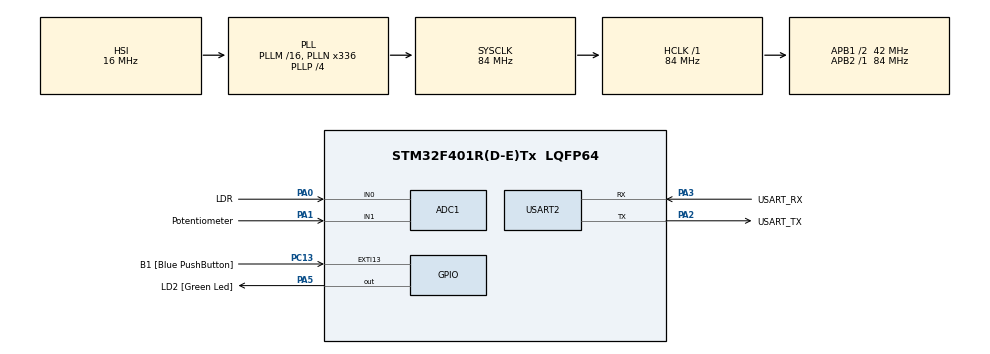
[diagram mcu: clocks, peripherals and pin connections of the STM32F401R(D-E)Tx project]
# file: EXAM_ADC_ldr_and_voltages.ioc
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ADC1.Channel-0\#ChannelRegularConversion=ADC_CHANNEL_0
ADC1.Channel-4\#ChannelRegularConversion=ADC_CHANNEL_1
ADC1.Channel-5\#ChannelRegularConversion=ADC_CHANNEL_TEMPSENSOR
ADC1.Channel-6\#ChannelRegularConversion=ADC_CHANNEL_VREFINT
ADC1.ContinuousConvMode=DISABLE
ADC1.DMAContinuousRequests=ENABLE
ADC1.DataAlign=ADC_DATAALIGN_RIGHT
ADC1.DiscontinuousConvMode=DISABLE
ADC1.ExternalTrigConv=ADC_EXTERNALTRIGCONV_T3_TRGO
ADC1.ExternalTrigConvEdge=ADC_EXTERNALTRIGCONVEDGE_RISING
ADC1.InjNumberOfConversion=0
ADC1.NbrOfConversion=4
ADC1.NbrOfConversionFlag=1
ADC1.Rank-0\#ChannelRegularConversion=1
ADC1.Rank-4\#ChannelRegularConversion=2
ADC1.Rank-5\#ChannelRegularConversion=3
ADC1.Rank-6\#ChannelRegularConversion=4
ADC1.SamplingTime-0\#ChannelRegularConversion=ADC_SAMPLETIME_480CYCLES
ADC1.SamplingTime-4\#ChannelRegularConversion=ADC_SAMPLETIME_480CYCLES
ADC1.SamplingTime-5\#ChannelRegularConversion=ADC_SAMPLETIME_480CYCLES
ADC1.SamplingTime-6\#ChannelRegularConversion=ADC_SAMPLETIME_480CYCLES
ADC1.master=1
Dma.ADC1.0.Direction=DMA_PERIPH_TO_MEMORY
Dma.ADC1.0.FIFOMode=DMA_FIFOMODE_DISABLE
Dma.ADC1.0.Instance=DMA2_Stream0
Dma.ADC1.0.MemDataAlignment=DMA_MDATAALIGN_HALFWORD
Dma.ADC1.0.MemInc=DMA_MINC_ENABLE
Dma.ADC1.0.Mode=DMA_CIRCULAR
Dma.ADC1.0.PeriphDataAlignment=DMA_PDATAALIGN_HALFWORD
Dma.ADC1.0.PeriphInc=DMA_PINC_DISABLE
Dma.ADC1.0.Priority=DMA_PRIORITY_VERY_HIGH
Dma.Request0=ADC1
Dma.Request1=USART2_TX
Dma.USART2_TX.1.Direction=DMA_MEMORY_TO_PERIPH
Dma.USART2_TX.1.FIFOMode=DMA_FIFOMODE_DISABLE
Dma.USART2_TX.1.Instance=DMA1_Stream6
Dma.USART2_TX.1.MemDataAlignment=DMA_MDATAALIGN_BYTE
Dma.USART2_TX.1.MemInc=DMA_MINC_ENABLE
Dma.USART2_TX.1.Mode=DMA_NORMAL
Dma.USART2_TX.1.PeriphDataAlignment=DMA_PDATAALIGN_BYTE
Dma.USART2_TX.1.PeriphInc=DMA_PINC_DISABLE
Dma.USART2_TX.1.Priority=DMA_PRIORITY_LOW
Mcu.Family=STM32F4
Mcu.Name=STM32F401R(D-E)Tx
Mcu.Package=LQFP64
NVIC.ADC_IRQn=true\:0\:0\:true\:false\:true\:true\:true\:true
NVIC.DMA1_Stream6_IRQn=true\:0\:0\:false\:false\:true\:false\:true\:true
NVIC.DMA2_Stream0_IRQn=true\:0\:0\:false\:false\:true\:false\:true\:true
NVIC.PriorityGroup=NVIC_PRIORITYGROUP_0
NVIC.USART2_IRQn=true\:0\:0\:false\:false\:true\:true\:true\:true
PA0-WKUP.GPIO_Label=LDR
PA0-WKUP.Signal=ADCx_IN0
PA1.GPIO_Label=Potentiometer
PA1.Signal=ADCx_IN1
PA13.GPIO_Label=TMS
PA13.Mode=Serial_Wire
PA13.Signal=SYS_JTMS-SWDIO
PA14.GPIO_Label=TCK
PA14.Mode=Serial_Wire
PA14.Signal=SYS_JTCK-SWCLK
PA2.GPIO_Label=USART_TX
PA2.GPIO_Mode=GPIO_MODE_AF_PP
PA2.GPIO_PuPd=GPIO_NOPULL
PA2.GPIO_Speed=GPIO_SPEED_FREQ_LOW
PA2.Mode=Asynchronous
PA2.Signal=USART2_TX
PA3.GPIO_Label=USART_RX
PA3.GPIO_Mode=GPIO_MODE_AF_PP
PA3.GPIO_PuPd=GPIO_NOPULL
PA3.GPIO_Speed=GPIO_SPEED_FREQ_LOW
PA3.Mode=Asynchronous
PA3.Signal=USART2_RX
PA5.GPIO_Label=LD2 [Green Led]
PA5.GPIO_Mode=GPIO_MODE_OUTPUT_PP
PA5.GPIO_PuPd=GPIO_NOPULL
PA5.GPIO_Speed=GPIO_SPEED_FREQ_LOW
PA5.Signal=GPIO_Output
PB3.GPIO_Label=SWO
PB3.Signal=SYS_JTDO-SWO
PC13-ANTI_TAMP.GPIO_Label=B1 [Blue PushButton]
PC13-ANTI_TAMP.GPIO_ModeDefaultEXTI=GPIO_MODE_IT_FALLING
PC13-ANTI_TAMP.GPIO_PuPd=GPIO_NOPULL
PC13-ANTI_TAMP.Signal=GPXTI13
PC14-OSC32_IN.Mode=LSE-External-Oscillator
PC14-OSC32_IN.Signal=RCC_OSC32_IN
PC15-OSC32_OUT.Mode=LSE-External-Oscillator
PC15-OSC32_OUT.Signal=RCC_OSC32_OUT
PH0\ -\ OSC_IN.Mode=HSE-External-Clock-Source
PH0\ -\ OSC_IN.Signal=RCC_OSC_IN
PH1\ -\ OSC_OUT.Mode=HSE-External-Clock-Source
PH1\ -\ OSC_OUT.Signal=RCC_OSC_OUT
ProjectManager.HeapSize=0x200
ProjectManager.StackSize=0x400
ProjectManager.TargetToolchain=STM32CubeIDE
RCC.48MHZClocksFreq_Value=48000000
RCC.AHBFreq_Value=84000000
RCC.APB1CLKDivider=RCC_HCLK_DIV2
RCC.APB1Freq_Value=42000000
RCC.APB1TimFreq_Value=84000000
RCC.APB2Freq_Value=84000000
RCC.APB2TimFreq_Value=84000000
RCC.CortexFreq_Value=84000000
RCC.HCLKFreq_Value=84000000
RCC.HSE_VALUE=8000000
RCC.HSI_VALUE=16000000
RCC.PLLN=336
RCC.PLLP=RCC_PLLP_DIV4
RCC.PLLQ=7
RCC.SYSCLKFreq_VALUE=84000000
RCC.SYSCLKSource=RCC_SYSCLKSOURCE_PLLCLK
RCC.VCOOutputFreq_Value=336000000
SH.ADCx_IN0.0=ADC1_IN0,IN0
SH.ADCx_IN1.0=ADC1_IN1,IN1
TIM3.Period=9
TIM3.Prescaler=8399
TIM3.TIM_MasterOutputTrigger=TIM_TRGO_UPDATE
TIM3.TIM_MasterSlaveMode=TIM_MASTERSLAVEMODE_DISABLE
USART2.VirtualMode=VM_ASYNC
VP_ADC1_TempSens_Input.Mode=IN-TempSens
VP_ADC1_Vref_Input.Mode=IN-Vrefint
VP_TIM3_VS_ClockSourceINT.Mode=Internal
board=NUCLEO-F401RE

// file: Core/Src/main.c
/* USER CODE BEGIN Header */
/**
  ******************************************************************************
  * @file           : main.c
  * @brief          : Main program body
  ******************************************************************************
  * @attention
  *
  * Copyright (c) 2024 STMicroelectronics.
  * All rights reserved.
  *
  * This software is licensed under terms that can be found in the LICENSE file
  * in the root directory of this software component.
  * If no LICENSE file comes with this software, it is provided AS-IS.
  *
  ******************************************************************************
  */
/* USER CODE END Header */
#include "main.h"

/* USER CODE BEGIN Includes */
#include "stdio.h"
#include <string.h>
#include <math.h>
/* USER CODE END Includes */

/* USER CODE BEGIN PD */
#define SIZE_STRING				200
#define ADC_VOLT_VALUES_SIZE 	3
#define VOLTAGE					3.3
#define ADC_VALUES_SIZE			2000
#define RESOLUTION				4096
/* USER CODE END PD */

ADC_HandleTypeDef hadc1;
DMA_HandleTypeDef hdma_adc1;

TIM_HandleTypeDef htim3;

UART_HandleTypeDef huart2;
DMA_HandleTypeDef hdma_usart2_tx;

void SystemClock_Config(void);
static void MX_GPIO_Init(void);
static void MX_DMA_Init(void);
static void MX_USART2_UART_Init(void);
static void MX_ADC1_Init(void);
static void MX_TIM3_Init(void);

/* USER CODE BEGIN 0 */
uint16_t ADC_values[ADC_VALUES_SIZE]; // Variable to store data recover by the ADC
char txBuffer[SIZE_STRING]; // Buffer to store the string to send over USART

/**
 * @brief Calculate the mean for the rank of an ADC channel
 */
uint32_t CalculateRankMean(uint16_t* Array, uint16_t rank)
{
    uint32_t sum = 0;
    for (uint16_t i = rank; i < ADC_VALUES_SIZE/2; i ++)
    {
    	if (i % 4 == rank) {
    		sum += Array[i];
    	}
    }
    return sum / 250;
}

/**
 * @brief Get ADC values and set it to the UART
 */
void SendData(uint16_t* HalfArray)
{
	// Calculate mean of desired half of array
	uint32_t ldr_mean = CalculateRankMean(ADC_values, 0); // Rank 1
	uint32_t pot_mean = CalculateRankMean(ADC_values, 1); // Rank 2
	uint32_t temp_mean = CalculateRankMean(ADC_values, 2); // Rank 3
	uint32_t vref_mean = CalculateRankMean(ADC_values, 3); // Rank 4

	// Calculate ADC LDR, LUX, potentiometer, temperature, and vref values
	float adcV = ldr_mean / 4095.0 * 3.3;
	float LDR = adcV * 100000 / (3.3 - adcV);
	float LUX = pow((10 * (100000 / LDR)), 1.25);
	float potentiometer = (pot_mean * VOLTAGE) / RESOLUTION;
    float temperature = 25 + ((((temp_mean * VOLTAGE) / RESOLUTION) - 0.76 ) / 0.025);
    float vref = (vref_mean * VOLTAGE) / RESOLUTION;

    // String format
	snprintf(txBuffer, sizeof(txBuffer), "LDR: %.2f Ohm\t, LUX: %.2f Lux\t, Pot: %.2fV\t, Temp: %.2fC\t, Vref: %.2fV\r\n", LDR,
																														   LUX,
																														   potentiometer,
																														   temperature,
																														   vref);
	HAL_UART_Transmit_DMA(&huart2, (uint8_t*)txBuffer, strlen(txBuffer));
}

/**
 * @brief Half callback of the ADC function
 */
void HAL_ADC_ConvHalfCpltCallback(ADC_HandleTypeDef* hadc)
{
	// Call send data function, pointer to first value of array
	SendData(ADC_values);
}

/**
 * @brief Complete callback of the ADC function
 */
void HAL_ADC_ConvCpltCallback(ADC_HandleTypeDef* hadc)
{
	// Call send data function, pointer to 1000th value of array
	SendData(ADC_values + 1000);
}

/* USER CODE END 0 */

int main(void)
{

  /* MCU Configuration--------------------------------------------------------*/

  /* Reset of all peripherals, Initializes the Flash interface and the Systick. */
  HAL_Init();

  /* Configure the system clock */
  SystemClock_Config();

  /* USER CODE BEGIN SysInit */
  MX_DMA_Init();
  /* USER CODE END SysInit */

  /* Initialize all configured peripherals */
  MX_GPIO_Init();
  MX_DMA_Init();
  MX_USART2_UART_Init();
  MX_ADC1_Init();
  MX_TIM3_Init();
  /* USER CODE BEGIN 2 */

  // Start TIM 3 (1sec)
  if(HAL_TIM_Base_Start(&htim3) != HAL_OK)
  {
  	 Error_Handler();
  }

  // Start ADC
  if(HAL_ADC_Start_DMA(&hadc1, (uint32_t *) ADC_values, ADC_VALUES_SIZE) != HAL_OK)
  {
	 Error_Handler();
  }

  /* USER CODE END 2 */

  /* Infinite loop */
  while (1)
  {

  }
}

void SystemClock_Config(void)
{
  RCC_OscInitTypeDef RCC_OscInitStruct = {0};
  RCC_ClkInitTypeDef RCC_ClkInitStruct = {0};

  /** Configure the main internal regulator output voltage
  */
  __HAL_RCC_PWR_CLK_ENABLE();
  __HAL_PWR_VOLTAGESCALING_CONFIG(PWR_REGULATOR_VOLTAGE_SCALE2);

  /** Initializes the RCC Oscillators according to the specified parameters
  * in the RCC_OscInitTypeDef structure.
  */
  RCC_OscInitStruct.OscillatorType = RCC_OSCILLATORTYPE_HSI;
  RCC_OscInitStruct.HSIState = RCC_HSI_ON;
  RCC_OscInitStruct.HSICalibrationValue = RCC_HSICALIBRATION_DEFAULT;
  RCC_OscInitStruct.PLL.PLLState = RCC_PLL_ON;
  RCC_OscInitStruct.PLL.PLLSource = RCC_PLLSOURCE_HSI;
  RCC_OscInitStruct.PLL.PLLM = 16;
  RCC_OscInitStruct.PLL.PLLN = 336;
  RCC_OscInitStruct.PLL.PLLP = RCC_PLLP_DIV4;
  RCC_OscInitStruct.PLL.PLLQ = 7;
  if (HAL_RCC_OscConfig(&RCC_OscInitStruct) != HAL_OK)
  {
    Error_Handler();
  }

  /** Initializes the CPU, AHB and APB buses clocks
  */
  RCC_ClkInitStruct.ClockType = RCC_CLOCKTYPE_HCLK|RCC_CLOCKTYPE_SYSCLK
                              |RCC_CLOCKTYPE_PCLK1|RCC_CLOCKTYPE_PCLK2;
  RCC_ClkInitStruct.SYSCLKSource = RCC_SYSCLKSOURCE_PLLCLK;
  RCC_ClkInitStruct.AHBCLKDivider = RCC_SYSCLK_DIV1;
  RCC_ClkInitStruct.APB1CLKDivider = RCC_HCLK_DIV2;
  RCC_ClkInitStruct.APB2CLKDivider = RCC_HCLK_DIV1;

  if (HAL_RCC_ClockConfig(&RCC_ClkInitStruct, FLASH_LATENCY_2) != HAL_OK)
  {
    Error_Handler();
  }
}

static void MX_ADC1_Init(void)
{

  ADC_ChannelConfTypeDef sConfig = {0};

  /** Configure the global features of the ADC (Clock, Resolution, Data Alignment and number of conversion)
  */
  hadc1.Instance = ADC1;
  hadc1.Init.ClockPrescaler = ADC_CLOCK_SYNC_PCLK_DIV4;
  hadc1.Init.Resolution = ADC_RESOLUTION_12B;
  hadc1.Init.ScanConvMode = ENABLE;
  hadc1.Init.ContinuousConvMode = DISABLE;
  hadc1.Init.DiscontinuousConvMode = DISABLE;
  hadc1.Init.ExternalTrigConvEdge = ADC_EXTERNALTRIGCONVEDGE_RISING;
  hadc1.Init.ExternalTrigConv = ADC_EXTERNALTRIGCONV_T3_TRGO;
  hadc1.Init.DataAlign = ADC_DATAALIGN_RIGHT;
  hadc1.Init.NbrOfConversion = 4;
  hadc1.Init.DMAContinuousRequests = ENABLE;
  hadc1.Init.EOCSelection = ADC_EOC_SINGLE_CONV;
  if (HAL_ADC_Init(&hadc1) != HAL_OK)
  {
    Error_Handler();
  }

  /** Configure for the selected ADC regular channel its corresponding rank in the sequencer and its sample time.
  */
  sConfig.Channel = ADC_CHANNEL_0;
  sConfig.Rank = 1;
  sConfig.SamplingTime = ADC_SAMPLETIME_480CYCLES;
  if (HAL_ADC_ConfigChannel(&hadc1, &sConfig) != HAL_OK)
  {
    Error_Handler();
  }

  /** Configure for the selected ADC regular channel its corresponding rank in the sequencer and its sample time.
  */
  sConfig.Channel = ADC_CHANNEL_1;
  sConfig.Rank = 2;
  if (HAL_ADC_ConfigChannel(&hadc1, &sConfig) != HAL_OK)
  {
    Error_Handler();
  }

  /** Configure for the selected ADC regular channel its corresponding rank in the sequencer and its sample time.
  */
  sConfig.Channel = ADC_CHANNEL_TEMPSENSOR;
  sConfig.Rank = 3;
  if (HAL_ADC_ConfigChannel(&hadc1, &sConfig) != HAL_OK)
  {
    Error_Handler();
  }

  /** Configure for the selected ADC regular channel its corresponding rank in the sequencer and its sample time.
  */
  sConfig.Channel = ADC_CHANNEL_VREFINT;
  sConfig.Rank = 4;
  if (HAL_ADC_ConfigChannel(&hadc1, &sConfig) != HAL_OK)
  {
    Error_Handler();
  }

}

static void MX_TIM3_Init(void)
{

  TIM_ClockConfigTypeDef sClockSourceConfig = {0};
  TIM_MasterConfigTypeDef sMasterConfig = {0};

  htim3.Instance = TIM3;
  htim3.Init.Prescaler = 8399;
  htim3.Init.CounterMode = TIM_COUNTERMODE_UP;
  htim3.Init.Period = 9;
  htim3.Init.ClockDivision = TIM_CLOCKDIVISION_DIV1;
  htim3.Init.AutoReloadPreload = TIM_AUTORELOAD_PRELOAD_DISABLE;
  if (HAL_TIM_Base_Init(&htim3) != HAL_OK)
  {
    Error_Handler();
  }
  sClockSourceConfig.ClockSource = TIM_CLOCKSOURCE_INTERNAL;
  if (HAL_TIM_ConfigClockSource(&htim3, &sClockSourceConfig) != HAL_OK)
  {
    Error_Handler();
  }
  sMasterConfig.MasterOutputTrigger = TIM_TRGO_UPDATE;
  sMasterConfig.MasterSlaveMode = TIM_MASTERSLAVEMODE_DISABLE;
  if (HAL_TIMEx_MasterConfigSynchronization(&htim3, &sMasterConfig) != HAL_OK)
  {
    Error_Handler();
  }

}

static void MX_USART2_UART_Init(void)
{

  huart2.Instance = USART2;
  huart2.Init.BaudRate = 115200;
  huart2.Init.WordLength = UART_WORDLENGTH_8B;
  huart2.Init.StopBits = UART_STOPBITS_1;
  huart2.Init.Parity = UART_PARITY_NONE;
  huart2.Init.Mode = UART_MODE_TX_RX;
  huart2.Init.HwFlowCtl = UART_HWCONTROL_NONE;
  huart2.Init.OverSampling = UART_OVERSAMPLING_16;
  if (HAL_UART_Init(&huart2) != HAL_OK)
  {
    Error_Handler();
  }

}

static void MX_DMA_Init(void)
{

  /* DMA controller clock enable */
  __HAL_RCC_DMA2_CLK_ENABLE();
  __HAL_RCC_DMA1_CLK_ENABLE();

  /* DMA interrupt init */
  /* DMA1_Stream6_IRQn interrupt configuration */
  HAL_NVIC_SetPriority(DMA1_Stream6_IRQn, 0, 0);
  HAL_NVIC_EnableIRQ(DMA1_Stream6_IRQn);
  /* DMA2_Stream0_IRQn interrupt configuration */
  HAL_NVIC_SetPriority(DMA2_Stream0_IRQn, 0, 0);
  HAL_NVIC_EnableIRQ(DMA2_Stream0_IRQn);

}

static void MX_GPIO_Init(void)
{
  GPIO_InitTypeDef GPIO_InitStruct = {0};

  /* GPIO Ports Clock Enable */
  __HAL_RCC_GPIOC_CLK_ENABLE();
  __HAL_RCC_GPIOH_CLK_ENABLE();
  __HAL_RCC_GPIOA_CLK_ENABLE();
  __HAL_RCC_GPIOB_CLK_ENABLE();

  /*Configure GPIO pin Output Level */
  HAL_GPIO_WritePin(LD2_GPIO_Port, LD2_Pin, GPIO_PIN_RESET);

  /*Configure GPIO pin : B1_Pin */
  GPIO_InitStruct.Pin = B1_Pin;
  GPIO_InitStruct.Mode = GPIO_MODE_IT_FALLING;
  GPIO_InitStruct.Pull = GPIO_NOPULL;
  HAL_GPIO_Init(B1_GPIO_Port, &GPIO_InitStruct);

  /*Configure GPIO pin : LD2_Pin */
  GPIO_InitStruct.Pin = LD2_Pin;
  GPIO_InitStruct.Mode = GPIO_MODE_OUTPUT_PP;
  GPIO_InitStruct.Pull = GPIO_NOPULL;
  GPIO_InitStruct.Speed = GPIO_SPEED_FREQ_LOW;
  HAL_GPIO_Init(LD2_GPIO_Port, &GPIO_InitStruct);

}

void Error_Handler(void)
{
  __disable_irq();
  while (1)
  {
  }
}
